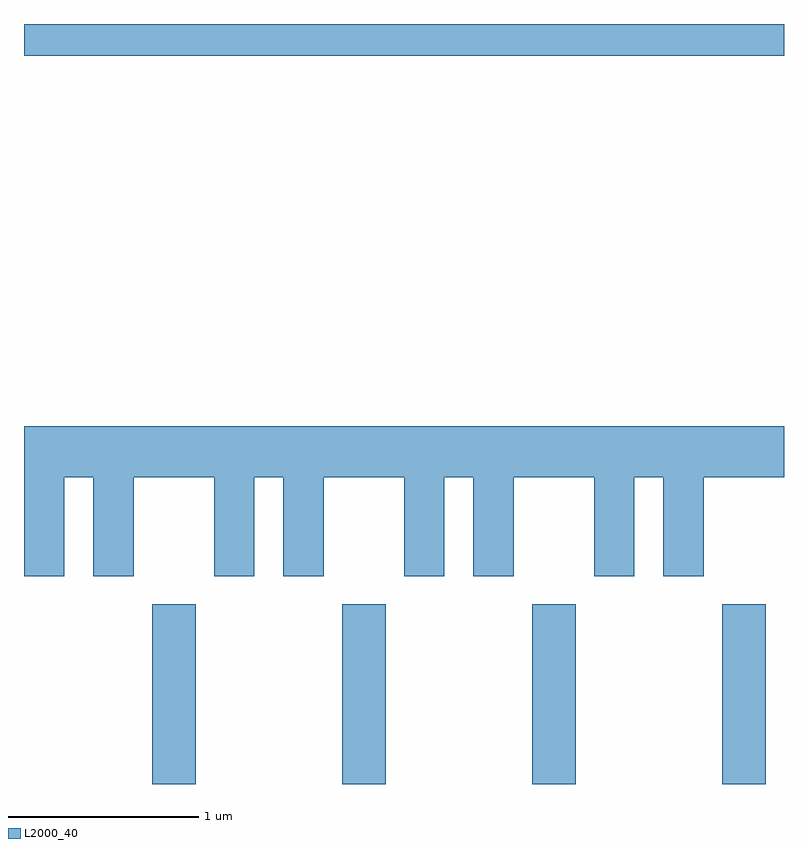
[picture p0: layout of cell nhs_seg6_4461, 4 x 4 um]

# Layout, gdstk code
import gdstk
lib = gdstk.Library(unit=1e-6, precision=1e-09)
def R(c, l, rs):  # rectangles x0, y0, x1, y1
    for r in rs: c.add(gdstk.rectangle(r[:2], r[2:], *l))
def A(c, l, x, y, w, h, nx, ny, dx, dy):  # array of equal rectangles
    R(c, l, [(x+i*dx, y+j*dy, x+i*dx+w, y+j*dy+h) for i in range(nx) for j in range(ny)])
def P(c, l, *ps):  # polygons
    for p in ps: c.add(gdstk.Polygon(p, *l))
L2000_40 = (2000, 40)

nhs_seg6_4461 = lib.new_cell('nhs_seg6_4461')
A(nhs_seg6_4461, L2000_40, 322.286, 1586.162, 0.228, 0.947, 4, 1, 1, 0)
R(nhs_seg6_4461, L2000_40, [(321.611,1589.996,325.611,1590.162)])
P(nhs_seg6_4461, L2000_40, [(321.824,1587.776),(321.976,1587.776),(321.976,1587.256),(322.189,1587.256),(322.189,1587.776),(322.611,1587.776),(322.611,1587.256),(322.824,1587.256),(322.824,1587.776),(322.976,1587.776),(322.976,1587.256),(323.189,1587.256),(323.189,1587.776),(323.611,1587.776),(323.611,1587.256),(323.824,1587.256),(323.824,1587.776),(323.976,1587.776),(323.976,1587.256),(324.189,1587.256),(324.189,1587.776),(324.611,1587.776),(324.611,1587.256),(324.824,1587.256),(324.824,1587.776),(324.976,1587.776),(324.976,1587.256),(325.189,1587.256),(325.189,1587.776),(325.611,1587.776),(325.611,1588.044),(321.611,1588.044),(321.611,1587.256),(321.824,1587.256)])

lib.write_gds('nhs_seg6_4461.gds')
